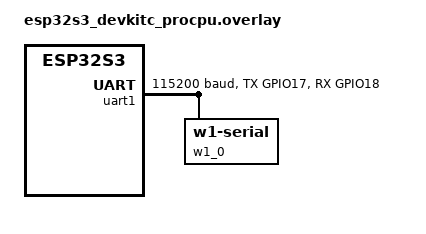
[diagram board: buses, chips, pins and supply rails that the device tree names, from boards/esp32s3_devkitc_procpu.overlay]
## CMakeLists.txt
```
# SPDX-License-Identifier: Apache-2.0

cmake_minimum_required(VERSION 3.20.0)
set(CODECHECKER_ANALYZE_OPTS
  "--skip;${CMAKE_SOURCE_DIR}/config/skip.codechecker"
  CACHE STRING "CodeChecker options")
set(CODECHECKER_ANALYZE_OPTS
  "--enable-all"
  CACHE STRING "CodeChecker options")
find_package(Zephyr REQUIRED HINTS $ENV{ZEPHYR_BASE})
project(temp_meas)
add_subdirectory(src)
```

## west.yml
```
# Example T2 west.yml, using manifest imports.
manifest:
  remotes:
    - name: zephyrproject-rtos
      url-base: https://github.com/zephyrproject-rtos
    - name: lora-net
      url-base: https://github.com/Lora-net
  projects:
    - name: zephyr
      remote: zephyrproject-rtos
      revision: main
      import: true
  self:
    path: .
```

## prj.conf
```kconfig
CONFIG_DS18B20=y
CONFIG_SENSOR=y
CONFIG_W1=y
CONFIG_LOG=y
CONFIG_SERIAL=y
```

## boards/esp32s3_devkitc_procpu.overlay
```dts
/*
 * Copyright (c) 2022 Thomas Stranger
 *
 * SPDX-License-Identifier: Apache-2.0
 */


&uart1 {
	status = "okay";
	current-speed = <115200>;
	pinctrl-0 = <&uart1_pins>;
	pinctrl-names = "default";
};

&uart1 {
	status = "okay";

	w1_0: w1-zephyr-serial-0 {
		compatible = "zephyr,w1-serial";
		#address-cells = <1>;
		#size-cells = <0>;
		status = "okay";

		ds18b20 {
			compatible = "maxim,ds18b20";
			family-code = <0x28>;
			resolution = <12>;
			status = "okay";
		};
	};
};
&pinctrl {
	uart1_pins: uart1_pins {
		group1 {
			pinmux = <UART1_TX_GPIO17>;
			output-high;
		};
		group2 {
			pinmux = <UART1_RX_GPIO18>;
			bias-pull-up;
			drive-open-drain;
		};
	};
};
```

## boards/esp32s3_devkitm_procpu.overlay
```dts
/ {
    leds {
        compatible = "gpio-leds";
        led0: led_0 {
            gpios = <&gpio0 10 GPIO_ACTIVE_HIGH>;
            label = "User LED";
        };
    };
    aliases {
        led0 = &led0;
    };
};
```

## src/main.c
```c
/*
 * Copyright (c) 2022 Thomas Stranger
 *
 * SPDX-License-Identifier: Apache-2.0
 */

#include <zephyr/kernel.h>
#include <zephyr/device.h>
#include <zephyr/devicetree.h>
#include <zephyr/drivers/sensor.h>
#include "temp/temp.h"



int main(void)
{
	int ret = 0;
	temp_sensor_t* temp_sensor = temp_sensor_new();
	ret = temp_sensor_ctor(temp_sensor);
	if (ret) {
		temp_sensor_dtor(temp_sensor);
		return ret;
	}
	while (true) {
		temp_sensor_get_value(temp_sensor);
		temp_sensor_print(temp_sensor);
	}
	temp_sensor_dtor(temp_sensor);
	return ret;
}
```
